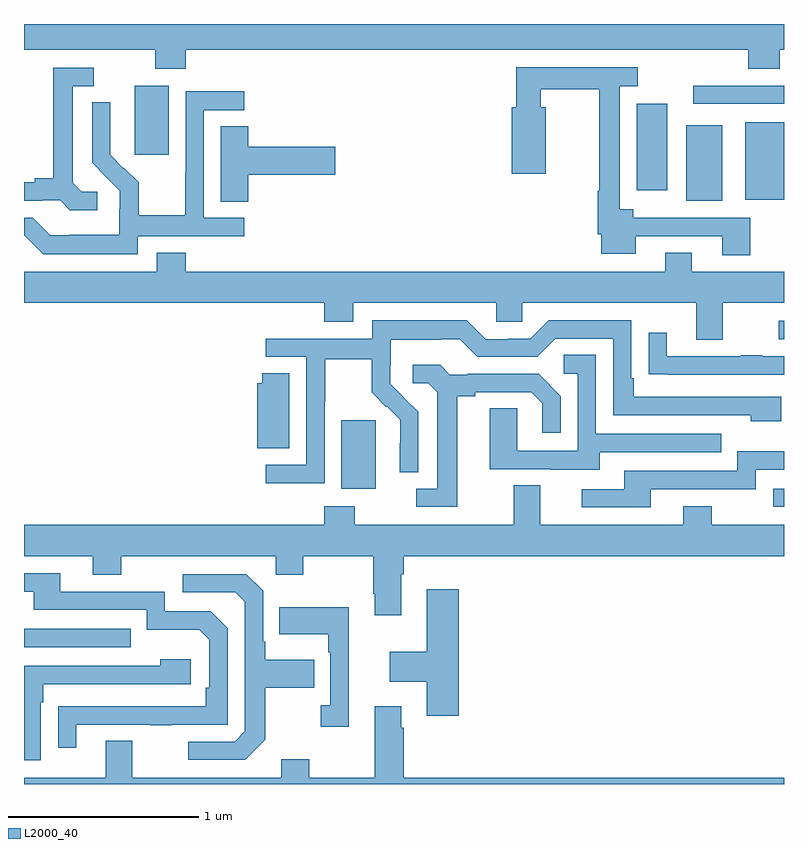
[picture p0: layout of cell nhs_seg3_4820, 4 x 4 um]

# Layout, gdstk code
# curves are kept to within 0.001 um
import gdstk
lib = gdstk.Library(unit=1e-6, precision=1e-09)
def R(c, l, rs):  # rectangles x0, y0, x1, y1
    for r in rs: c.add(gdstk.rectangle(r[:2], r[2:], *l))
def P(c, l, *ps):  # polygons
    for p in ps: c.add(gdstk.Polygon(p, *l))
L2000_40 = (2000, 40)

nhs_seg3_4820 = lib.new_cell('nhs_seg3_4820')
R(nhs_seg3_4820, L2000_40, [(371,683.121,371.561,683.217), (374.943,683.859,375,683.955), (372.671,683.954,372.85,684.315), (374.973,684.741,375,684.837), (374.486,685.469,374.674,685.867), (374.795,685.475,375,685.882), (374.225,685.524,374.386,685.981), (371.582,685.713,371.761,686.074), (374.523,685.98,375,686.076)])
P(nhs_seg3_4820, L2000_40, [(371.852,686.264),(374.813,686.264),(374.813,686.165),(374.978,686.165),(374.978,686.264),(375,686.264),(375,686.4),(371,686.4),(371,686.264),(371.692,686.264),(371.692,686.165),(371.852,686.165)],
  [(374.823,685.38),(374.206,685.38),(374.206,685.426),(374.136,685.426),(374.136,686.072),(374.23,686.072),(374.23,686.172),(373.591,686.172),(373.591,685.963),(373.568,685.963),(373.568,685.611),(373.746,685.611),(373.746,685.963),(373.72,685.963),(373.72,686.056),(374.028,686.056),(374.028,685.522),(374.02,685.522),(374.02,685.294),(374.039,685.294),(374.039,685.19),(374.221,685.19),(374.221,685.284),(374.675,685.284),(374.675,685.182),(374.823,685.182)],
  [(371.386,685.518),(371.304,685.518),(371.257,685.565),(371.257,686.073),(371.368,686.073),(371.368,686.169),(371.153,686.169),(371.153,685.589),(371.057,685.589),(371.057,685.566),(371,685.566),(371,685.47),(371.096,685.47),(371.096,685.473),(371.19,685.473),(371.242,685.421),(371.386,685.421)],
  [(371.598,685.284),(372.16,685.284),(372.16,685.38),(371.946,685.38),(371.946,685.947),(372.16,685.947),(372.16,686.046),(371.85,686.046),(371.85,685.616),(371.848,685.616),(371.848,685.393),(371.603,685.393),(371.603,685.567),(371.526,685.644),(371.523,685.641),(371.453,685.712),(371.454,685.988),(371.358,685.988),(371.358,685.67),(371.504,685.522),(371.504,685.425),(371.502,685.425),(371.502,685.291),(371.239,685.291),(371.239,685.287),(371.139,685.287),(371.046,685.38),(371,685.38),(371,685.287),(371.101,685.187),(371.598,685.187)],
  [(372.179,685.607),(372.637,685.607),(372.637,685.754),(372.179,685.754),(372.179,685.862),(372.035,685.862),(372.035,685.465),(372.179,685.465)],
  [(374.515,685.195),(374.375,685.195),(374.375,685.096),(371.852,685.096),(371.852,685.195),(371.699,685.195),(371.699,685.096),(371,685.096),(371,684.932),(372.581,684.932),(372.581,684.833),(372.733,684.833),(372.733,684.932),(373.485,684.932),(373.485,684.834),(373.623,684.834),(373.623,684.932),(374.537,684.932),(374.537,684.738),(374.677,684.738),(374.677,684.932),(375,684.932),(375,685.096),(374.515,685.096)],
  [(372.582,684.412),(372.585,684.412),(372.585,684.636),(372.829,684.636),(372.829,684.461),(372.906,684.384),(372.909,684.387),(372.98,684.317),(372.98,684.194),(372.978,684.194),(372.978,684.04),(373.074,684.04),(373.074,684.358),(372.928,684.506),(372.928,684.603),(372.93,684.603),(372.93,684.737),(373.193,684.737),(373.193,684.741),(373.293,684.741),(373.386,684.648),(373.701,684.648),(373.797,684.744),(374.1,684.744),(374.1,684.342),(374.825,684.342),(374.825,684.308),(374.986,684.308),(374.986,684.438),(374.209,684.438),(374.209,684.535),(374.196,684.535),(374.196,684.84),(373.761,684.84),(373.665,684.744),(373.547,684.744),(373.547,684.741),(373.431,684.741),(373.331,684.841),(372.834,684.841),(372.834,684.744),(372.273,684.744),(372.273,684.648),(372.486,684.648),(372.486,684.081),(372.273,684.081),(372.273,683.983),(372.582,683.983)],
  [(375,684.651),(374.885,684.651),(374.885,684.656),(374.773,684.656),(374.773,684.651),(374.383,684.651),(374.383,684.775),(374.287,684.775),(374.287,684.556),(374.389,684.556),(374.389,684.555),(375,684.555)],
  [(374.029,684.147),(374.669,684.147),(374.669,684.243),(374.01,684.243),(374.01,684.659),(373.842,684.659),(373.842,684.558),(373.914,684.558),(373.914,684.153),(373.596,684.153),(373.596,684.377),(373.451,684.377),(373.451,684.057),(373.775,684.057),(373.775,684.053),(374.029,684.053)],
  [(373.279,684.44),(373.375,684.44),(373.375,684.462),(373.67,684.462),(373.727,684.405),(373.727,684.249),(373.824,684.249),(373.824,684.442),(373.708,684.558),(373.336,684.558),(373.336,684.555),(373.242,684.555),(373.19,684.607),(373.047,684.607),(373.047,684.51),(373.128,684.51),(373.175,684.463),(373.175,683.955),(373.065,683.955),(373.065,683.859),(373.279,683.859)],
  [(372.397,684.563),(372.254,684.563),(372.254,684.51),(372.227,684.51),(372.227,684.166),(372.397,684.166)],
  [(374.299,683.952),(374.85,683.952),(374.85,684.054),(375,684.054),(375,684.151),(374.754,684.151),(374.754,684.048),(374.159,684.048),(374.159,683.952),(373.935,683.952),(373.935,683.856),(374.299,683.856)],
  [(372.985,683.504),(372.998,683.504),(372.998,683.6),(375,683.6),(375,683.764),(374.619,683.764),(374.619,683.863),(374.471,683.863),(374.471,683.764),(373.717,683.764),(373.717,683.972),(373.577,683.972),(373.577,683.764),(372.741,683.764),(372.741,683.863),(372.581,683.863),(372.581,683.764),(371,683.764),(371,683.6),(371.363,683.6),(371.363,683.501),(371.511,683.501),(371.511,683.6),(372.324,683.6),(372.324,683.501),(372.471,683.501),(372.471,683.6),(372.838,683.6),(372.838,683.401),(372.845,683.401),(372.845,683.289),(372.985,683.289)],
  [(371.275,682.713),(371.665,682.713),(371.665,682.708),(371.777,682.708),(371.777,682.713),(372.072,682.713),(372.072,683.22),(371.982,683.31),(371.742,683.31),(371.742,683.412),(371.191,683.412),(371.191,683.508),(371,683.508),(371,683.412),(371.051,683.412),(371.051,683.316),(371.646,683.316),(371.646,683.213),(371.923,683.213),(371.976,683.16),(371.976,682.906),(371.956,682.906),(371.956,682.809),(371.179,682.808),(371.179,682.59),(371.275,682.59)],
  [(372.271,682.633),(372.271,682.906),(372.527,682.906),(372.527,683.053),(372.271,683.053),(372.271,683.149),(372.258,683.149),(372.258,683.418),(372.171,683.505),(371.835,683.505),(371.835,683.409),(372.111,683.409),(372.162,683.358),(372.162,682.677),(372.108,682.623),(371.865,682.623),(371.865,682.527),(372.165,682.527)],
  [(373.289,683.425),(373.121,683.425),(373.121,683.095),(372.924,683.095),(372.924,682.937),(373.121,682.937),(373.121,682.758),(373.289,682.758)],
  [(372.71,683.329),(372.343,683.329),(372.343,683.189),(372.6,683.189),(372.6,683.093),(372.612,683.093),(372.612,682.814),(372.561,682.814),(372.561,682.701),(372.71,682.701)],
  [(371.088,682.829),(371.101,682.829),(371.101,682.926),(371.878,682.926),(371.878,683.056),(371.717,683.056),(371.717,683.022),(371,683.022),(371,682.524),(371.088,682.524)],
  [(375,682.432),(372.998,682.432),(372.998,682.697),(372.985,682.697),(372.985,682.81),(372.845,682.81),(372.845,682.432),(372.501,682.432),(372.501,682.531),(372.353,682.531),(372.353,682.432),(371.569,682.432),(371.569,682.627),(371.429,682.627),(371.429,682.432),(371,682.432),(371,682.4),(375,682.4)])

lib.write_gds('nhs_seg3_4820.gds')
